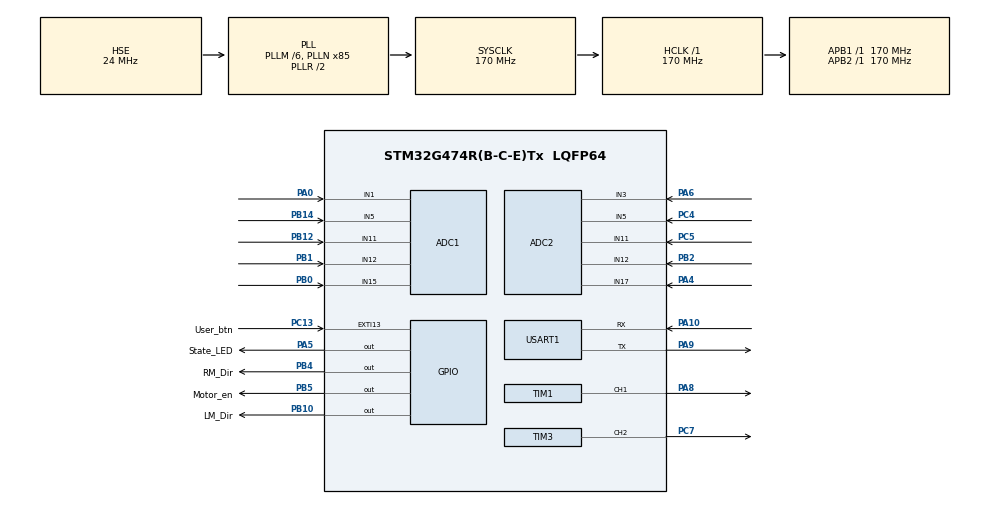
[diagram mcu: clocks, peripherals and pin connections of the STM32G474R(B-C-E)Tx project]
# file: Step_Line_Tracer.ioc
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ADC1.Channel-0\#ChannelRegularConversion=ADC_CHANNEL_5
ADC1.Channel-1\#ChannelRegularConversion=ADC_CHANNEL_11
ADC1.Channel-2\#ChannelRegularConversion=ADC_CHANNEL_12
ADC1.Channel-3\#ChannelRegularConversion=ADC_CHANNEL_15
ADC1.Channel-4\#ChannelRegularConversion=ADC_CHANNEL_1
ADC1.ContinuousConvMode=ENABLE
ADC1.DMAContinuousRequests=ENABLE
ADC1.NbrOfConversion=5
ADC1.NbrOfConversionFlag=1
ADC1.OffsetNumber-0\#ChannelRegularConversion=ADC_OFFSET_NONE
ADC1.OffsetNumber-1\#ChannelRegularConversion=ADC_OFFSET_NONE
ADC1.OffsetNumber-2\#ChannelRegularConversion=ADC_OFFSET_NONE
ADC1.OffsetNumber-3\#ChannelRegularConversion=ADC_OFFSET_NONE
ADC1.OffsetNumber-4\#ChannelRegularConversion=ADC_OFFSET_NONE
ADC1.Overrun=ADC_OVR_DATA_OVERWRITTEN
ADC1.Rank-0\#ChannelRegularConversion=1
ADC1.Rank-1\#ChannelRegularConversion=2
ADC1.Rank-2\#ChannelRegularConversion=3
ADC1.Rank-3\#ChannelRegularConversion=4
ADC1.Rank-4\#ChannelRegularConversion=5
ADC1.SamplingTime-0\#ChannelRegularConversion=ADC_SAMPLETIME_640CYCLES_5
ADC1.SamplingTime-1\#ChannelRegularConversion=ADC_SAMPLETIME_640CYCLES_5
ADC1.SamplingTime-2\#ChannelRegularConversion=ADC_SAMPLETIME_640CYCLES_5
ADC1.SamplingTime-3\#ChannelRegularConversion=ADC_SAMPLETIME_640CYCLES_5
ADC1.SamplingTime-4\#ChannelRegularConversion=ADC_SAMPLETIME_640CYCLES_5
ADC1.master=1
ADC2.Channel-0\#ChannelRegularConversion=ADC_CHANNEL_5
ADC2.Channel-1\#ChannelRegularConversion=ADC_CHANNEL_11
ADC2.Channel-2\#ChannelRegularConversion=ADC_CHANNEL_12
ADC2.Channel-3\#ChannelRegularConversion=ADC_CHANNEL_17
ADC2.Channel-4\#ChannelRegularConversion=ADC_CHANNEL_3
ADC2.ContinuousConvMode=ENABLE
ADC2.DMAContinuousRequests=ENABLE
ADC2.NbrOfConversion=5
ADC2.NbrOfConversionFlag=1
ADC2.OffsetNumber-0\#ChannelRegularConversion=ADC_OFFSET_NONE
ADC2.OffsetNumber-1\#ChannelRegularConversion=ADC_OFFSET_NONE
ADC2.OffsetNumber-2\#ChannelRegularConversion=ADC_OFFSET_NONE
ADC2.OffsetNumber-3\#ChannelRegularConversion=ADC_OFFSET_NONE
ADC2.OffsetNumber-4\#ChannelRegularConversion=ADC_OFFSET_NONE
ADC2.Overrun=ADC_OVR_DATA_OVERWRITTEN
ADC2.Rank-0\#ChannelRegularConversion=1
ADC2.Rank-1\#ChannelRegularConversion=2
ADC2.Rank-2\#ChannelRegularConversion=3
ADC2.Rank-3\#ChannelRegularConversion=4
ADC2.Rank-4\#ChannelRegularConversion=5
ADC2.SamplingTime-0\#ChannelRegularConversion=ADC_SAMPLETIME_640CYCLES_5
ADC2.SamplingTime-1\#ChannelRegularConversion=ADC_SAMPLETIME_640CYCLES_5
ADC2.SamplingTime-2\#ChannelRegularConversion=ADC_SAMPLETIME_640CYCLES_5
ADC2.SamplingTime-3\#ChannelRegularConversion=ADC_SAMPLETIME_640CYCLES_5
ADC2.SamplingTime-4\#ChannelRegularConversion=ADC_SAMPLETIME_640CYCLES_5
Dma.ADC1.0.Direction=DMA_PERIPH_TO_MEMORY
Dma.ADC1.0.EventEnable=DISABLE
Dma.ADC1.0.Instance=DMA1_Channel1
Dma.ADC1.0.MemDataAlignment=DMA_MDATAALIGN_HALFWORD
Dma.ADC1.0.MemInc=DMA_MINC_ENABLE
Dma.ADC1.0.Mode=DMA_CIRCULAR
Dma.ADC1.0.PeriphDataAlignment=DMA_PDATAALIGN_HALFWORD
Dma.ADC1.0.PeriphInc=DMA_PINC_DISABLE
Dma.ADC1.0.Polarity=HAL_DMAMUX_REQ_GEN_RISING
Dma.ADC1.0.Priority=DMA_PRIORITY_LOW
Dma.ADC1.0.RequestNumber=1
Dma.ADC1.0.SignalID=NONE
Dma.ADC1.0.SyncEnable=DISABLE
Dma.ADC1.0.SyncPolarity=HAL_DMAMUX_SYNC_NO_EVENT
Dma.ADC1.0.SyncRequestNumber=1
Dma.ADC1.0.SyncSignalID=NONE
Dma.ADC2.1.Direction=DMA_PERIPH_TO_MEMORY
Dma.ADC2.1.EventEnable=DISABLE
Dma.ADC2.1.Instance=DMA1_Channel2
Dma.ADC2.1.MemDataAlignment=DMA_MDATAALIGN_HALFWORD
Dma.ADC2.1.MemInc=DMA_MINC_ENABLE
Dma.ADC2.1.Mode=DMA_CIRCULAR
Dma.ADC2.1.PeriphDataAlignment=DMA_PDATAALIGN_HALFWORD
Dma.ADC2.1.PeriphInc=DMA_PINC_DISABLE
Dma.ADC2.1.Polarity=HAL_DMAMUX_REQ_GEN_RISING
Dma.ADC2.1.Priority=DMA_PRIORITY_LOW
Dma.ADC2.1.RequestNumber=1
Dma.ADC2.1.SignalID=NONE
Dma.ADC2.1.SyncEnable=DISABLE
Dma.ADC2.1.SyncPolarity=HAL_DMAMUX_SYNC_NO_EVENT
Dma.ADC2.1.SyncRequestNumber=1
Dma.ADC2.1.SyncSignalID=NONE
Dma.Request0=ADC1
Dma.Request1=ADC2
Mcu.Family=STM32G4
Mcu.Name=STM32G474R(B-C-E)Tx
Mcu.Package=LQFP64
NVIC.DMA1_Channel1_IRQn=true\:0\:0\:false\:false\:true\:false\:true\:true
NVIC.DMA1_Channel2_IRQn=true\:0\:0\:false\:false\:true\:false\:true\:true
NVIC.EXTI15_10_IRQn=true\:0\:0\:false\:false\:true\:true\:true\:true
NVIC.PriorityGroup=NVIC_PRIORITYGROUP_4
PA0.Mode=IN1-Single-Ended
PA0.Signal=ADC1_IN1
PA10.Mode=Asynchronous
PA10.Signal=USART1_RX
PA13.Signal=SYS_JTMS-SWDIO
PA14.Signal=SYS_JTCK-SWCLK
PA4.Mode=IN17-Single-Ended
PA4.Signal=ADC2_IN17
PA5.GPIO_Label=State_LED
PA5.Signal=GPIO_Output
PA6.Mode=IN3-Single-Ended
PA6.Signal=ADC2_IN3
PA8.Signal=S_TIM1_CH1
PA9.Mode=Asynchronous
PA9.Signal=USART1_TX
PB0.Mode=IN15-Single-Ended
PB0.Signal=ADC1_IN15
PB1.Mode=IN12-Single-Ended
PB1.Signal=ADC1_IN12
PB10.GPIO_Label=LM_Dir
PB10.Signal=GPIO_Output
PB12.Mode=IN11-Single-Ended
PB12.Signal=ADC1_IN11
PB14.Mode=IN5-Single-Ended
PB14.Signal=ADC1_IN5
PB2.Mode=IN12-Single-Ended
PB2.Signal=ADC2_IN12
PB4.GPIO_Label=RM_Dir
PB4.Signal=GPIO_Output
PB5.GPIO_Label=Motor_en
PB5.PinState=GPIO_PIN_SET
PB5.Signal=GPIO_Output
PC13.GPIO_Label=User_btn
PC13.Signal=GPXTI13
PC4.Mode=IN5-Single-Ended
PC4.Signal=ADC2_IN5
PC5.Mode=IN11-Single-Ended
PC5.Signal=ADC2_IN11
PC7.Signal=S_TIM3_CH2
PF0-OSC_IN.Mode=HSE-External-Oscillator
PF0-OSC_IN.Signal=RCC_OSC_IN
PF1-OSC_OUT.Mode=HSE-External-Oscillator
PF1-OSC_OUT.Signal=RCC_OSC_OUT
ProjectManager.HeapSize=0x200
ProjectManager.StackSize=0x400
ProjectManager.TargetToolchain=STM32CubeIDE
RCC.ADC12Freq_Value=170000000
RCC.ADC345Freq_Value=170000000
RCC.AHBFreq_Value=170000000
RCC.APB1Freq_Value=170000000
RCC.APB1TimFreq_Value=170000000
RCC.APB2Freq_Value=170000000
RCC.APB2TimFreq_Value=170000000
RCC.CortexFreq_Value=170000000
RCC.EXTERNAL_CLOCK_VALUE=12288000
RCC.HCLKFreq_Value=170000000
RCC.HSE_VALUE=24000000
RCC.HSI48_VALUE=48000000
RCC.HSI_VALUE=16000000
RCC.LSE_VALUE=32768
RCC.PLLM=RCC_PLLM_DIV6
RCC.PLLN=85
RCC.PLLSourceVirtual=RCC_PLLSOURCE_HSE
RCC.SYSCLKFreq_VALUE=170000000
RCC.SYSCLKSource=RCC_SYSCLKSOURCE_PLLCLK
RCC.USBFreq_Value=170000000
RCC.VCOOutputFreq_Value=340000000
SH.S_TIM1_CH1.0=TIM1_CH1,PWM Generation1 CH1
SH.S_TIM3_CH2.0=TIM3_CH2,PWM Generation2 CH2
TIM1.AutoReloadPreload=TIM_AUTORELOAD_PRELOAD_ENABLE
TIM1.Channel-PWM\ Generation1\ CH1=TIM_CHANNEL_1
TIM1.PeriodNoDither=999
TIM1.Prescaler=169
TIM3.AutoReloadPreload=TIM_AUTORELOAD_PRELOAD_ENABLE
TIM3.Channel-PWM\ Generation2\ CH2=TIM_CHANNEL_2
TIM3.PeriodNoDither=999
TIM3.Prescaler=169
USART1.VirtualMode-Asynchronous=VM_ASYNC
VP_SYS_VS_DBSignals.Mode=DisableDeadBatterySignals
VP_TIM1_VS_ClockSourceINT.Mode=Internal
VP_TIM3_VS_ClockSourceINT.Mode=Internal
board=custom

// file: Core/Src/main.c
/* USER CODE BEGIN Header */
/**
  ******************************************************************************
  * @file           : main.c
  * @brief          : Main program body
  ******************************************************************************
  * @attention
  *
  * Copyright (c) 2026 STMicroelectronics.
  * All rights reserved.
  *
  * This software is licensed under terms that can be found in the LICENSE file
  * in the root directory of this software component.
  * If no LICENSE file comes with this software, it is provided AS-IS.
  *
  ******************************************************************************
  */
/* USER CODE END Header */
#include "main.h"
#include "adc.h"
#include "dma.h"
#include "tim.h"
#include "usart.h"
#include "gpio.h"

/* USER CODE BEGIN Includes */
#include <stdbool.h>
#include "stepper.h"
#include "tcrt5000.h"
#include "pid.h"

/* USER CODE END Includes */

/* USER CODE BEGIN PD */
/* ===== 스텝모터 테스트 (DRV8825 + KH42JM2-901) =====
 * 1 = while(1)에서 라인트레이서 대신 아래 모터 테스트를 실행.
 * 전진 가속 -> 유지 -> 감속 -> 쉼 -> 후진도 똑같이, 무한 반복. */
#define MOTOR_TEST          1
#define TEST_HZ             (1.0f * STEPPER_STEPS_PER_REV)   // 초당 1회전
#define TEST_ACCEL_HZ       (10.0f * STEPPER_MICROSTEP)      // 10 ms마다 더하는 Hz (1/8 모드: 80 Hz = 8000 Hz/s = 초당 5바퀴씩 가속)
#define TEST_HOLD_MS        2000                      		 // 최고 속도 유지 시간
#define TEST_PAUSE_MS       1000                      		 // 방향 바꾸기 전 쉬는 시간

/* USER CODE END PD */

/* USER CODE BEGIN PV */
static volatile bool pid_on = 0;
/* USER CODE END PV */

void SystemClock_Config(void);
/* USER CODE BEGIN PFP */
static void Motor_Test_Run(float target_hz);
void HAL_GPIO_EXTI_Callback(uint16_t GPIO_Pin);

/* USER CODE END PFP */

int main(void)
{

  /* USER CODE BEGIN 1 */

  /* =====   PID   ===== */
  /* PID 계수, 출력 제한, 내부 상태(gain_p/i/d, err_prev)는 pid.h / pid.c에 있음 */
  float err_curr; 										// 현재 오차 (라인 위치 mm, -57.5 ~ +57.5, 0 = 가운데) -> PID 입력
  uint32_t dt; 											// 주기 간격 (ms)
  uint32_t last_tick;									// 지난 주기의 HAL_GetTick() 값 (HAL_GetTick()과 같은 uint32_t)
  const uint16_t *tcrt_raw_array_uart; 	// uart 전송 용도 (get_tcrt_raw_array()가 읽기 전용 주소를 주므로 const)
  /* USER CODE END 1 */

  /* MCU Configuration--------------------------------------------------------*/

  /* Reset of all peripherals, Initializes the Flash interface and the Systick. */
  HAL_Init();

  /* Configure the system clock */
  SystemClock_Config();

  /* Initialize all configured peripherals */
  MX_GPIO_Init();
  MX_DMA_Init();
  MX_ADC1_Init();
  MX_ADC2_Init();
  MX_USART1_UART_Init();
  MX_TIM3_Init();
  MX_TIM1_Init();
  /* USER CODE BEGIN 2 */
  tcrt5000_init();
  Stepper_Init();                                                  // TIM1, TIM3 PWM 시작 (CCR=0이라 아직 펄스 없음)
#if MOTOR_TEST
  Stepper_Enable(1);                                               // EN LOW -> 코일에 전류 (테스트 모드에서만 바로 켬)
#endif
  /* USER CODE END 2 */

  /* Infinite loop */
  /* USER CODE BEGIN WHILE */
  while (1)
  {
	  if (pid_on == false) // 정지 상태 동작
	  {

	  }
	  else // 주행 상태 동작
	  {

	  }
    /* USER CODE END WHILE */

    /* USER CODE BEGIN 3 */
#if MOTOR_TEST
    Motor_Test_Run(+TEST_HZ);      // 전진
    HAL_Delay(TEST_PAUSE_MS);
    Motor_Test_Run(-TEST_HZ);      // 후진
    HAL_Delay(TEST_PAUSE_MS);
#endif
  }
  /* USER CODE END 3 */
}

void SystemClock_Config(void)
{
  RCC_OscInitTypeDef RCC_OscInitStruct = {0};
  RCC_ClkInitTypeDef RCC_ClkInitStruct = {0};

  /** Configure the main internal regulator output voltage
  */
  HAL_PWREx_ControlVoltageScaling(PWR_REGULATOR_VOLTAGE_SCALE1_BOOST);

  /** Initializes the RCC Oscillators according to the specified parameters
  * in the RCC_OscInitTypeDef structure.
  */
  RCC_OscInitStruct.OscillatorType = RCC_OSCILLATORTYPE_HSE;
  RCC_OscInitStruct.HSEState = RCC_HSE_ON;
  RCC_OscInitStruct.PLL.PLLState = RCC_PLL_ON;
  RCC_OscInitStruct.PLL.PLLSource = RCC_PLLSOURCE_HSE;
  RCC_OscInitStruct.PLL.PLLM = RCC_PLLM_DIV6;
  RCC_OscInitStruct.PLL.PLLN = 85;
  RCC_OscInitStruct.PLL.PLLP = RCC_PLLP_DIV2;
  RCC_OscInitStruct.PLL.PLLQ = RCC_PLLQ_DIV2;
  RCC_OscInitStruct.PLL.PLLR = RCC_PLLR_DIV2;
  if (HAL_RCC_OscConfig(&RCC_OscInitStruct) != HAL_OK)
  {
    Error_Handler();
  }

  /** Initializes the CPU, AHB and APB buses clocks
  */
  RCC_ClkInitStruct.ClockType = RCC_CLOCKTYPE_HCLK|RCC_CLOCKTYPE_SYSCLK
                              |RCC_CLOCKTYPE_PCLK1|RCC_CLOCKTYPE_PCLK2;
  RCC_ClkInitStruct.SYSCLKSource = RCC_SYSCLKSOURCE_PLLCLK;
  RCC_ClkInitStruct.AHBCLKDivider = RCC_SYSCLK_DIV1;
  RCC_ClkInitStruct.APB1CLKDivider = RCC_HCLK_DIV1;
  RCC_ClkInitStruct.APB2CLKDivider = RCC_HCLK_DIV1;

  if (HAL_RCC_ClockConfig(&RCC_ClkInitStruct, FLASH_LATENCY_4) != HAL_OK)
  {
    Error_Handler();
  }
}

/* USER CODE BEGIN 4 */
/**
  * @brief  두 모터를 0 -> target_hz로 가속, 유지, 다시 0으로 감속.
  *         스텝모터는 너무 갑자기 출발하거나 멈추면 스텝을 놓치거나(탈조)
  *         웅웅거리기만 하므로, 10 ms마다 조금씩 속도를 바꾼다.
  * @param  target_hz  최고 속도 (+ 전진 / - 후진)
  */
static void Motor_Test_Run(float target_hz)
{
  float step = (target_hz > 0.0f) ? TEST_ACCEL_HZ : -TEST_ACCEL_HZ;   // 한 번에 바꿀 양 (방향 포함)
  float hz = 0.0f;

  while (hz != target_hz)                         // 가속 (넘으면 아래에서 target_hz로 딱 맞추므로 != 비교가 끝남)
  {
    hz += step;
    if ((step > 0.0f && hz > target_hz) || (step < 0.0f && hz < target_hz)) hz = target_hz;   // 목표 넘지 않게
    Stepper_SetSpeed(STEPPER_LEFT,  hz);
    Stepper_SetSpeed(STEPPER_RIGHT, hz);
    HAL_Delay(10);
  }

  HAL_Delay(TEST_HOLD_MS);                        // 일정 속도 유지

  while (hz != 0.0f)                              // 감속
  {
    hz -= step;
    if ((step > 0.0f && hz < 0.0f) || (step < 0.0f && hz > 0.0f)) hz = 0.0f;   // 0 넘지 않게
    Stepper_SetSpeed(STEPPER_LEFT,  hz);
    Stepper_SetSpeed(STEPPER_RIGHT, hz);
    HAL_Delay(10);
  }
}

void HAL_GPIO_EXTI_Callback(uint16_t GPIO_Pin)
{
	static uint32_t User_btn_Pin_last_tick = 0;
	if (GPIO_Pin == User_btn_Pin)
	{
		if (HAL_GetTick() - User_btn_Pin_last_tick < 200)
		{
			return;
		}
		else
		{
			User_btn_Pin_last_tick = HAL_GetTick();
			pid_on = !pid_on;
		}
	}

}
/* USER CODE END 4 */

void Error_Handler(void)
{
  __disable_irq();
  while (1)
  {
  }
}
